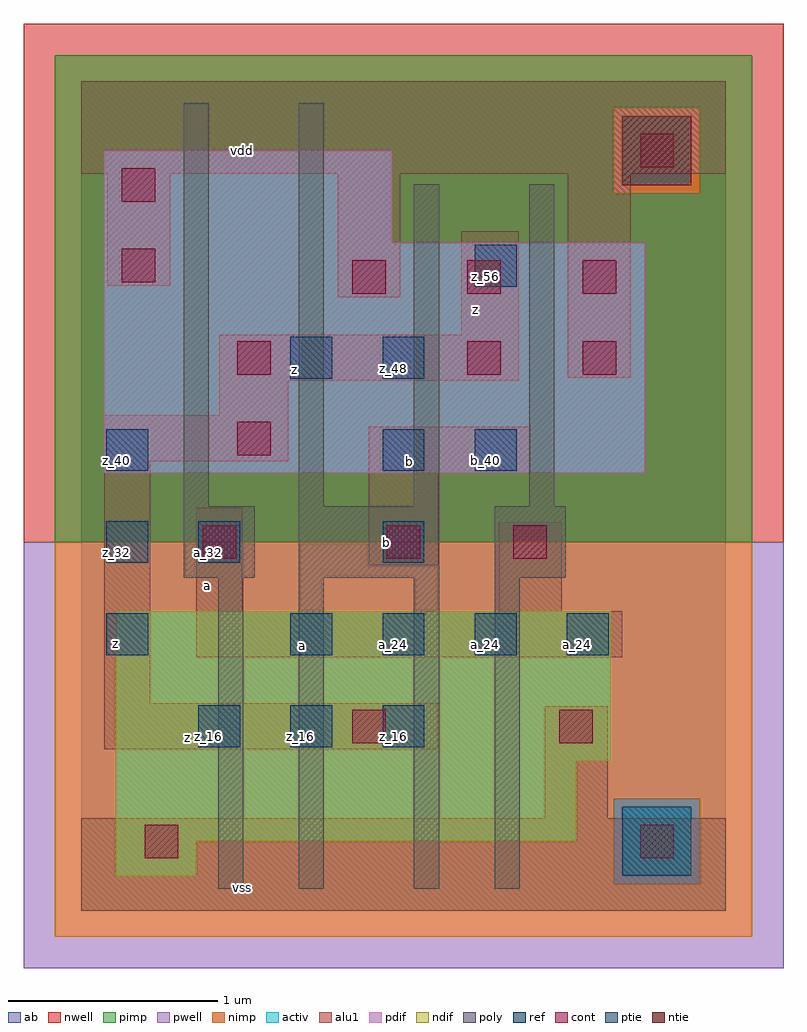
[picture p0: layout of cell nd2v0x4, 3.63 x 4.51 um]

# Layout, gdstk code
import gdstk
lib = gdstk.Library(unit=1e-6, precision=2.5e-09)
def R(c, l, rs):  # rectangles x0, y0, x1, y1
    for r in rs: c.add(gdstk.rectangle(r[:2], r[2:], *l))
def A(c, l, x, y, w, h, nx, ny, dx, dy):  # array of equal rectangles
    R(c, l, [(x+i*dx, y+j*dy, x+i*dx+w, y+j*dy+h) for i in range(nx) for j in range(ny)])
ndif = (3, 0)
pdif = (4, 0)
ntie = (5, 0)
ptie = (6, 0)
ref = (24, 0)
cont = (25, 0)
pwell = (41, 0)
nwell = (42, 0)
activ = (43, 0)
pimp = (44, 0)
nimp = (45, 0)
poly = (46, 0)
alu1 = (49, 0)
ab = (63, 0)

nd2v0x4 = lib.new_cell('nd2v0x4')
R(nd2v0x4, ndif, [(0.165,0.165,0.55,0.33), (0.165,0.33,2.365,0.715), (0.165,0.715,2.53,1.43)])
R(nd2v0x4, pdif, [(0.11,2.09,2.695,3.19), (0.11,3.19,1.485,3.63)])
R(nd2v0x4, ntie, [(2.585,3.465,2.915,3.795)])
R(nd2v0x4, ptie, [(2.585,0.165,2.915,0.495)])
A(nd2v0x4, ref, 0.56, 0.78, 0.2, 0.2, 3, 1, 0.44, 0)
A(nd2v0x4, ref, 0.12, 1.22, 0.2, 0.2, 1, 3, 0, 0.44)
A(nd2v0x4, ref, 1, 1.22, 0.2, 0.2, 4, 1, 0.44, 0)
A(nd2v0x4, ref, 1.44, 1.66, 0.2, 0.2, 1, 3, 0, 0.44)
R(nd2v0x4, ref, [(0.56,1.66,0.76,1.86), (1.88,2.1,2.08,2.3), (1,2.54,1.2,2.74), (1.88,2.98,2.08,3.18)])
A(nd2v0x4, cont, 1.295, 2.945, 0.16, 0.16, 3, 1, 0.55, 0)
R(nd2v0x4, cont, [(0.305,0.25,0.465,0.41), (2.67,0.25,2.83,0.41), (1.295,0.8,1.455,0.96), (2.285,0.8,2.445,0.96), (0.58,1.68,0.74,1.84), (1.46,1.68,1.62,1.84), (2.065,1.68,2.225,1.84), (0.745,2.175,0.905,2.335), (0.745,2.56,0.905,2.72), (1.845,2.56,2.005,2.72), (2.395,2.56,2.555,2.72), (0.195,3,0.355,3.16), (0.195,3.385,0.355,3.545), (2.67,3.55,2.83,3.71)])
R(nd2v0x4, pwell, [(-0.275,-0.275,3.355,1.76)])
R(nd2v0x4, nwell, [(-0.275,1.76,3.355,4.235)])
R(nd2v0x4, activ, [(0.165,0.165,0.55,0.33), (2.585,0.165,2.915,0.495), (0.165,0.33,2.365,0.715), (0.165,0.715,2.53,1.43), (0.11,2.09,2.695,3.19), (0.11,3.19,1.485,3.63), (2.585,3.465,2.915,3.795)])
R(nd2v0x4, pimp, [(2.545,0.125,2.955,0.535), (-0.125,1.76,3.205,3.425), (-0.125,3.425,2.545,3.835), (2.955,3.425,3.205,3.835), (-0.125,3.835,3.205,4.085)])
R(nd2v0x4, nimp, [(-0.125,-0.125,3.205,0.125), (-0.125,0.125,2.545,0.535), (2.955,0.125,3.205,0.535), (-0.125,0.535,3.205,1.76), (2.545,3.425,2.955,3.835)])
R(nd2v0x4, poly, [(0.655,0.105,0.775,1.59), (1.04,0.105,1.16,1.59), (1.59,0.105,1.71,1.59), (1.975,0.105,2.095,1.59), (0.49,1.59,0.83,1.93), (1.04,1.59,1.71,1.93), (1.975,1.59,2.315,1.93), (0.49,1.93,0.61,3.855), (1.04,1.93,1.16,3.855), (1.59,1.93,1.71,3.47), (2.14,1.93,2.26,3.47)])
R(nd2v0x4, alu1, [(0,0,3.08,0.44), (2.215,0.44,2.515,0.975), (0.11,0.77,1.705,0.99), (0.11,0.99,0.33,2.145), (0.55,1.21,2.585,1.43), (0.55,1.43,0.77,1.925), (1.995,1.43,2.295,1.855), (1.375,1.65,1.705,2.09), (1.375,2.09,2.145,2.31), (0.11,2.145,0.99,2.365), (0.66,2.365,0.99,2.53), (0.66,2.53,2.09,2.75), (2.325,2.545,2.625,3.52), (1.815,2.75,2.09,3.245), (1.225,2.93,1.525,3.52), (0.125,2.985,0.425,3.52), (0,3.52,3.08,3.96)])
R(nd2v0x4, ab, [(0,0,3.08,3.96)])
nd2v0x4.add(gdstk.Label('vss', (0.77,0.11), layer=49, texttype=0))
nd2v0x4.add(gdstk.Label('z', (0.5075,0.825), layer=49, texttype=0))
nd2v0x4.add(gdstk.Label('a', (1.0575,1.265), layer=49, texttype=0))
nd2v0x4.add(gdstk.Label('b', (1.4575,1.76), layer=49, texttype=0))
nd2v0x4.add(gdstk.Label('a', (0.605,1.5525), layer=49, texttype=0))
nd2v0x4.add(gdstk.Label('b', (1.5675,2.145), layer=49, texttype=0))
nd2v0x4.add(gdstk.Label('z', (0.165,1.2775), layer=49, texttype=0))
nd2v0x4.add(gdstk.Label('z', (1.0175,2.585), layer=49, texttype=0))
nd2v0x4.add(gdstk.Label('z', (1.8825,2.8725), layer=49, texttype=0))
nd2v0x4.add(gdstk.Label('vdd', (0.77,3.63), layer=49, texttype=0))
nd2v0x4.add(gdstk.Label('z_16', (0.61,0.83), layer=24, texttype=0))
nd2v0x4.add(gdstk.Label('a_32', (0.61,1.71), layer=24, texttype=0))
nd2v0x4.add(gdstk.Label('z_16', (1.05,0.83), layer=24, texttype=0))
nd2v0x4.add(gdstk.Label('a_24', (1.05,1.27), layer=24, texttype=0))
nd2v0x4.add(gdstk.Label('z_48', (1.05,2.59), layer=24, texttype=0))
nd2v0x4.add(gdstk.Label('z_16', (1.49,0.83), layer=24, texttype=0))
nd2v0x4.add(gdstk.Label('a_24', (1.49,1.27), layer=24, texttype=0))
nd2v0x4.add(gdstk.Label('b_32', (1.49,1.71), layer=24, texttype=0))
nd2v0x4.add(gdstk.Label('b_40', (1.49,2.15), layer=24, texttype=0))
nd2v0x4.add(gdstk.Label('z_48', (1.49,2.59), layer=24, texttype=0))
nd2v0x4.add(gdstk.Label('a_24', (1.93,1.27), layer=24, texttype=0))
nd2v0x4.add(gdstk.Label('b_40', (1.93,2.15), layer=24, texttype=0))
nd2v0x4.add(gdstk.Label('z_56', (1.93,3.03), layer=24, texttype=0))
nd2v0x4.add(gdstk.Label('z_24', (0.17,1.27), layer=24, texttype=0))
nd2v0x4.add(gdstk.Label('z_32', (0.17,1.71), layer=24, texttype=0))
nd2v0x4.add(gdstk.Label('z_40', (0.17,2.15), layer=24, texttype=0))
nd2v0x4.add(gdstk.Label('a_24', (2.37,1.27), layer=24, texttype=0))

lib.write_gds('nd2v0x4.gds')
